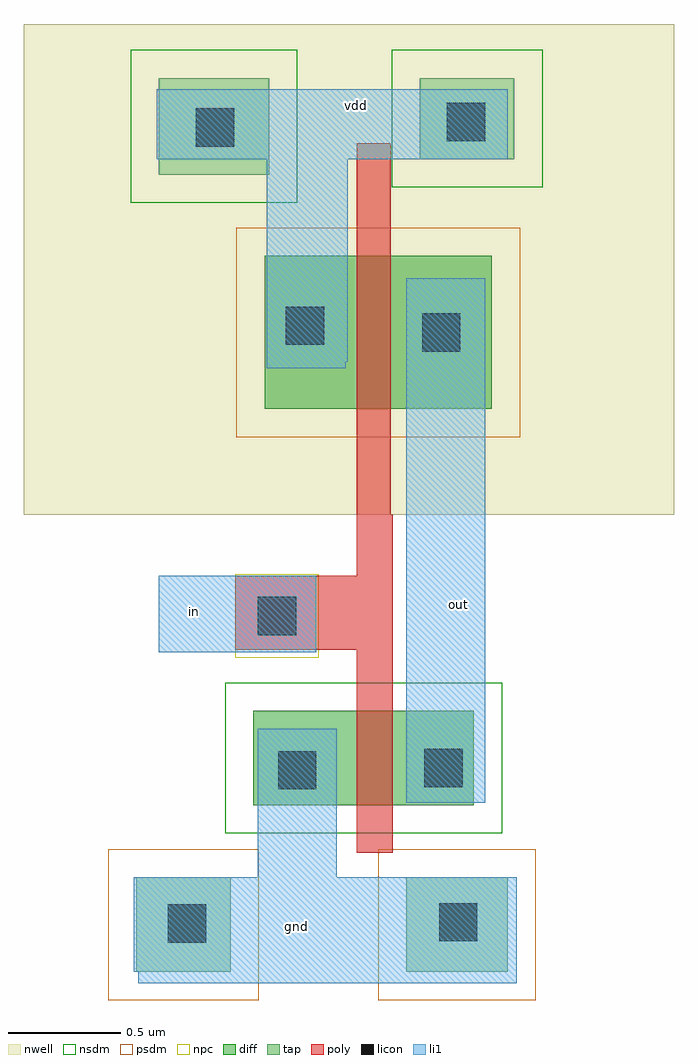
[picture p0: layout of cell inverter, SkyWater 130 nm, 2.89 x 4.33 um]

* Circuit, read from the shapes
.subckt inverter gnd in out vdd
XM1 out in gnd gnd sky130_fd_pr__nfet_01v8 w=0.42 l=0.16
XM2 out in vdd vdd sky130_fd_pr__pfet_01v8 w=0.68 l=0.15
.ends

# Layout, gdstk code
import gdstk
lib = gdstk.Library(unit=1e-6, precision=1e-09)
def R(c, l, rs):  # rectangles x0, y0, x1, y1
    for r in rs: c.add(gdstk.rectangle(r[:2], r[2:], *l))
nwell = (64, 20)
diff = (65, 20)
tap = (65, 44)
poly = (66, 20)
licon = (66, 44)
li1 = (67, 20)
nsdm = (93, 44)
psdm = (94, 20)
npc = (95, 20)

inverter = lib.new_cell('inverter')
R(inverter, nwell, [(-2.39,0.16,0.5,2.34)])
R(inverter, diff, [(-1.37,-1.13,-0.39,-0.71), (-1.32,0.63,-0.31,1.31)])
R(inverter, tap, [(-1.89,-1.87,-1.47,-1.45), (-0.69,-1.87,-0.24,-1.45), (-1.79,1.67,-1.3,2.1), (-0.63,1.74,-0.21,2.1)])
R(inverter, poly, [(-0.91,-1.34,-0.75,-0.44), (-1.45,-0.44,-0.75,-0.11), (-0.91,-0.11,-0.75,0.16), (-0.91,0.16,-0.76,1.81)])
R(inverter, licon, [(-1.75,-1.74,-1.58,-1.57), (-0.545,-1.735,-0.375,-1.565), (-1.26,-1.06,-1.09,-0.89), (-0.61,-1.05,-0.44,-0.88), (-1.35,-0.375,-1.18,-0.205), (-0.62,0.885,-0.45,1.055), (-1.225,0.915,-1.055,1.085), (-1.625,1.795,-1.455,1.965), (-0.51,1.82,-0.34,1.99)])
R(inverter, li1, [(-1.88,-1.92,-0.2,-1.87), (-1.9,-1.87,-0.2,-1.45), (-1.35,-1.45,-1,-0.79), (-0.69,-1.12,-0.34,1.21), (-1.79,-0.45,-1.09,-0.11), (-1.31,0.81,-0.96,0.84), (-1.31,0.84,-0.95,1.74), (-1.8,1.74,-0.24,2.05)])
R(inverter, nsdm, [(-1.495,-1.255,-0.265,-0.585), (-1.915,1.545,-1.175,2.225), (-0.755,1.615,-0.085,2.225)])
R(inverter, psdm, [(-2.015,-1.995,-1.345,-1.325), (-0.815,-1.995,-0.115,-1.325), (-1.445,0.505,-0.185,1.435)])
R(inverter, npc, [(-1.45,-0.475,-1.08,-0.105)])
inverter.add(gdstk.Label('in', (-1.63,-0.27), layer=67, texttype=5))
inverter.add(gdstk.Label('out', (-0.46,-0.24), layer=67, texttype=5))
inverter.add(gdstk.Label('vdd', (-0.91,1.98), layer=67, texttype=5))
inverter.add(gdstk.Label('gnd', (-1.18,-1.67), layer=67, texttype=5))

lib.write_gds('inverter.gds')
